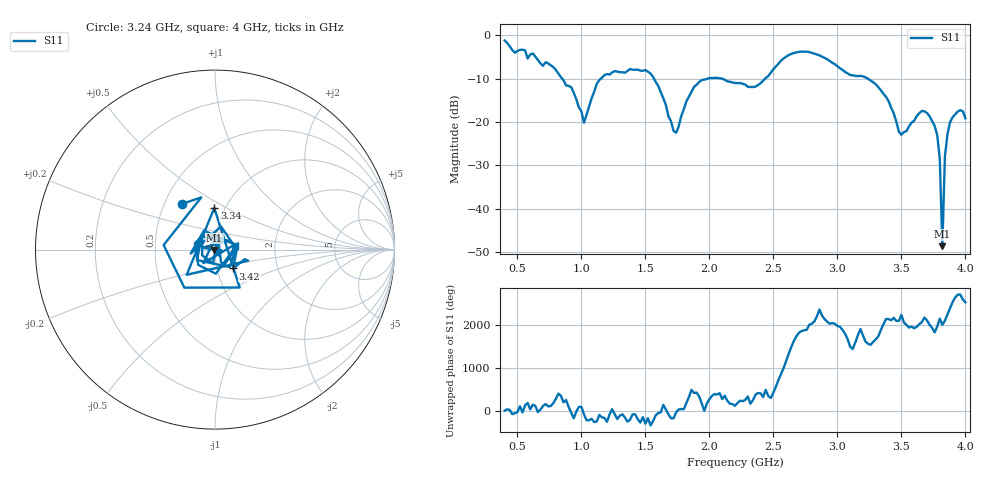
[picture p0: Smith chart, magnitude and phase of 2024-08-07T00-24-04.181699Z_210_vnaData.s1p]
!Created with skrf (http://scikit-rf.org).
# Hz S RI R 50.0
!freq ReS11 ImS11
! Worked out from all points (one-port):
!   181 points, 400 MHz to 4 GHz, reference 50 ohm
!   lowest |S11| = -48.6 dB at 3.82 GHz (marker M1), VSWR 1.01, Z = 49.7 - j0.153 ohm
!   |S11| at or under -10 dB: 1.567 GHz to 1.986 GHz (419.5 MHz wide, 23.6 % of centre); 2.1 GHz to 2.435 GHz (334.7 MHz wide, 14.8 % of centre); 3.237 GHz to end of sweep (the widest 3 of 4)
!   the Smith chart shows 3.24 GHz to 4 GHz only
!   S11 on the Smith chart (normalised r, x): 3.24 GHz: 0.61, +0.34; 3.34 GHz: 0.89, +0.44; 3.42 GHz: 1.19, -0.26; 4 GHz: 1.24, +0.05
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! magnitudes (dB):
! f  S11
! 400 MHz  -1.2
! 860 MHz  -10.4
! 920 MHz  -12.0
! 1.02 GHz  -20.1
! 1.14 GHz  -10.3
! 1.3 GHz  -8.5
! 1.54 GHz  -8.8
! 1.72 GHz  -22.1
! 1.76 GHz  -21.0
! 1.82 GHz  -15.3
! 1.92 GHz  -10.8
! 2.2 GHz  -11.0
! 2.36 GHz  -11.8
! 2.66 GHz  -4.1
! 3.1 GHz  -9.2
! 3.24 GHz  -10.0
! 3.34 GHz  -12.7
! 3.42 GHz  -16.7
! 3.5 GHz  -22.9
! 3.56 GHz  -21.0
! 3.68 GHz  -17.5
! 3.78 GHz  -23.0
! 3.8 GHz  -28.5
! 3.82 GHz  -48.6
! 3.84 GHz  -27.9
! 3.86 GHz  -22.8
! 3.94 GHz  -17.6
! 4 GHz  -19.1
